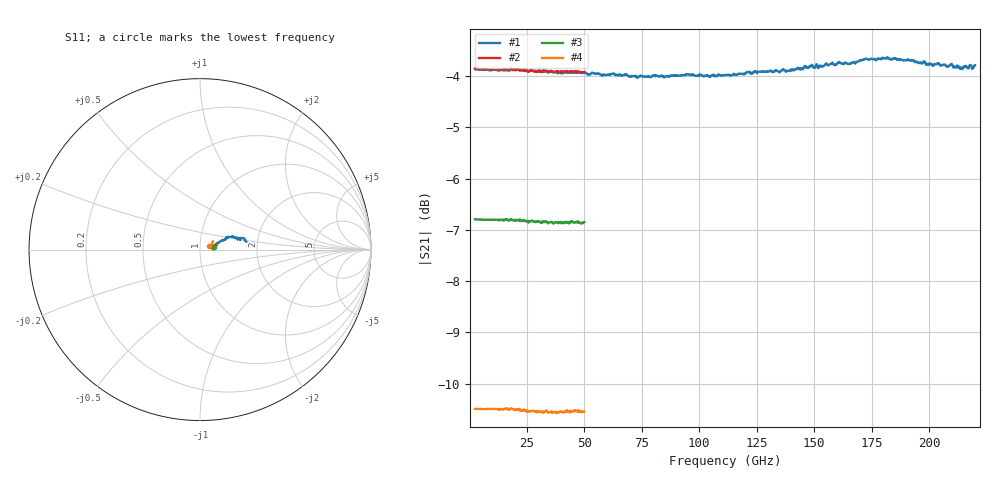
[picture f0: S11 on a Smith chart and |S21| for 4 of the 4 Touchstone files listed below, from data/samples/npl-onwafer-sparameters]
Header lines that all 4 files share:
!Created with skrf (http://scikit-rf.org).
# Hz S RI R 50.0
!freq ReS11 ImS11 ReS21 ImS21 ReS12 ImS12 ReS22 ImS22
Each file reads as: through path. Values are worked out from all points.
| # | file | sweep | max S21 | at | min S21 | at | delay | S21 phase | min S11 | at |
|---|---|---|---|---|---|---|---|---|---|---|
| 1 | broadband_3dB_attenuator_0601_CORR.s2p | 2.5 GHz to 220 GHz | -3.63 dB | 182 GHz | -4.0 dB | 73 GHz | 1.19 ps | -46 deg at 111.2 GHz | -22.4 dB | 2.5 GHz |
| 2 | coaxial_3dB_attenuator_0601_CORR.s2p | 2.5 GHz to 50 GHz | -3.85 dB | 18 GHz | -3.9 dB | 49 GHz | 1.15 ps | -11 deg at 26.25 GHz | -22.5 dB | 3.5 GHz |
| 3 | coaxial_6dB_attenuator_0602_CORR.s2p | 2.5 GHz to 50 GHz | -6.79 dB | 18 GHz | -6.9 dB | 48.75 GHz | 1.05 ps | -10 deg at 26.25 GHz | -21.8 dB | 3.5 GHz |
| 4 | coaxial_10dB_attenuator_0603_CORR.s2p | 2.5 GHz to 50 GHz | -10.49 dB | 16.5 GHz | -10.6 dB | 38 GHz | 1 ps | -10 deg at 26.25 GHz | -25.0 dB | 3.5 GHz |
